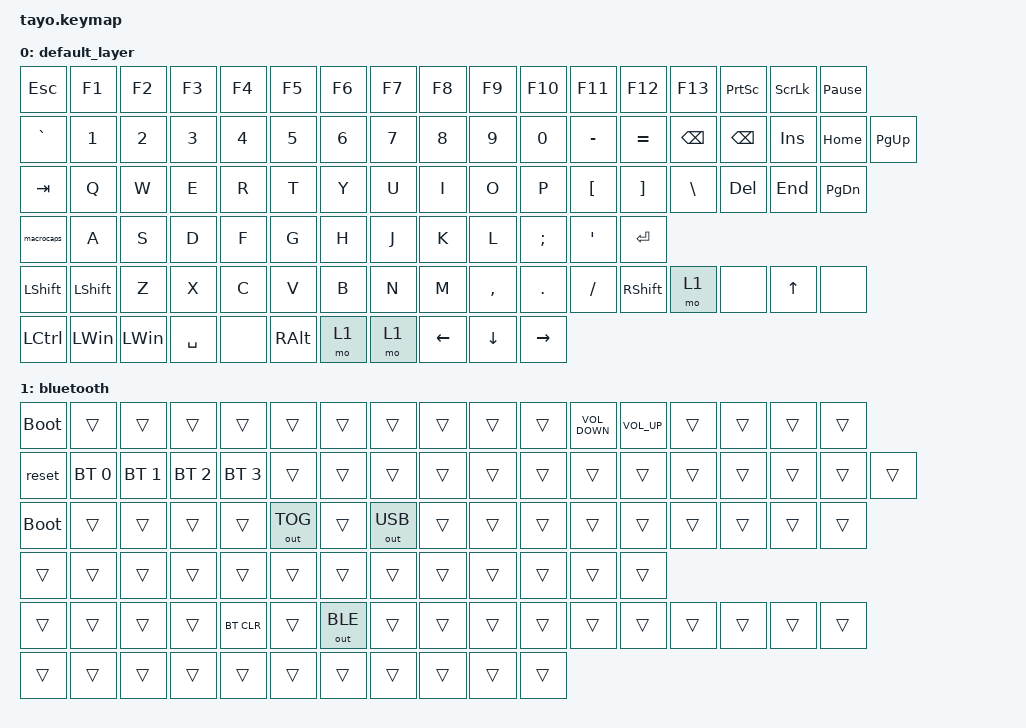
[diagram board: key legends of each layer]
/*
 * Copyright (c) 2021 Nick Winans
 *
 * SPDX-License-Identifier: MIT
 */

#include <behaviors.dtsi>
#include <dt-bindings/zmk/bt.h>
#include <dt-bindings/zmk/keys.h>
#include <dt-bindings/zmk/outputs.h>

/ {
    macros {
        macrocaps: macrocaps {
            compatible = "zmk,behavior-macro";
            #binding-cells = <0>;
            bindings = <&mt LGUI CAPS>;
            label = "MACROCAPS";
            tap-ms = <200>;
        };
    };

    keymap {
        compatible = "zmk,keymap";

        default_layer {
            bindings = <
&kp ESC     &kp F1     &kp F2    &kp F3     &kp F4  &kp F5    &kp F6  &kp F7  &kp F8    &kp F9     &kp F10    &kp F11    &kp F12    &kp F13   &kp PRINTSCREEN  &kp SCROLLLOCK  &kp PAUSE_BREAK
&kp GRAVE   &kp N1     &kp N2    &kp N3     &kp N4  &kp N5    &kp N6  &kp N7  &kp N8    &kp N9     &kp N0     &kp MINUS  &kp EQUAL  &kp BSPC  &kp BSPC         &kp INSERT      &kp HOME         &kp PAGE_UP
&kp TAB     &kp Q      &kp W     &kp E      &kp R   &kp T     &kp Y   &kp U   &kp I     &kp O      &kp P      &kp LBKT   &kp RBKT   &kp BSLH  &kp DELETE       &kp END         &kp PAGE_DOWN
&macrocaps  &kp A      &kp S     &kp D      &kp F   &kp G     &kp H   &kp J   &kp K     &kp L      &kp SEMI   &kp SQT    &kp RET
&kp LSHFT   &kp LSHFT  &kp Z     &kp X      &kp C   &kp V     &kp B   &kp N   &kp M     &kp COMMA  &kp DOT    &kp FSLH   &kp RSHFT  &mo 1     &none            &kp UP          &none
&kp LCTRL   &kp LWIN   &kp LWIN  &kp SPACE  &none   &kp RALT  &mo 1   &mo 1   &kp LEFT  &kp DOWN   &kp RIGHT
            >;
        };

        bluetooth {
            bindings = <
&bootloader  &trans        &trans        &trans        &trans        &trans        &trans        &trans        &trans  &trans  &trans  &kp K_VOLUME_DOWN  &kp K_VOLUME_UP  &trans  &trans  &trans  &trans
&reset       &bt BT_SEL 0  &bt BT_SEL 1  &bt BT_SEL 2  &bt BT_SEL 3  &trans        &trans        &trans        &trans  &trans  &trans  &trans             &trans           &trans  &trans  &trans  &trans  &trans
&bootloader  &trans        &trans        &trans        &trans        &out OUT_TOG  &trans        &out OUT_USB  &trans  &trans  &trans  &trans             &trans           &trans  &trans  &trans  &trans
&trans       &trans        &trans        &trans        &trans        &trans        &trans        &trans        &trans  &trans  &trans  &trans             &trans
&trans       &trans        &trans        &trans        &bt BT_CLR    &trans        &out OUT_BLE  &trans        &trans  &trans  &trans  &trans             &trans           &trans  &trans  &trans  &trans
&trans       &trans        &trans        &trans        &trans        &trans        &trans        &trans        &trans  &trans  &trans
            >;
        };
    };
};
